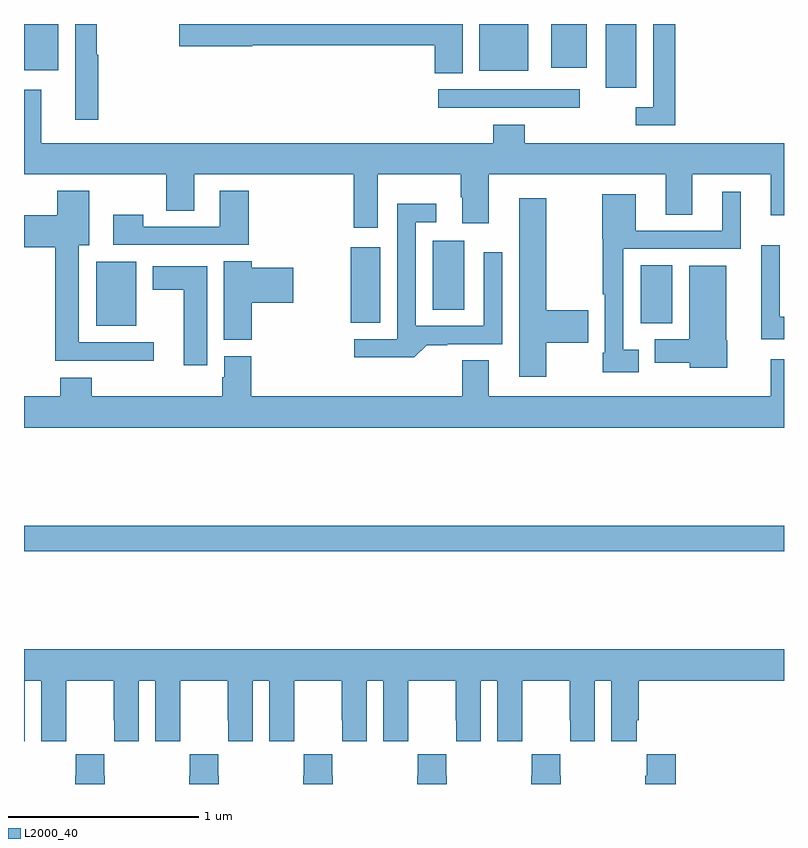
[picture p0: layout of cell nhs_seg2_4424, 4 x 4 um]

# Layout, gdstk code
import gdstk
lib = gdstk.Library(unit=1e-6, precision=1e-09)
def R(c, l, rs):  # rectangles x0, y0, x1, y1
    for r in rs: c.add(gdstk.rectangle(r[:2], r[2:], *l))
def P(c, l, *ps):  # polygons
    for p in ps: c.add(gdstk.Polygon(p, *l))
L2000_40 = (2000, 40)

nhs_seg2_4424 = lib.new_cell('nhs_seg2_4424')
R(nhs_seg2_4424, L2000_40, [(351,607.024,355,607.16), (351.38,608.213,351.592,608.548), (354.245,608.225,354.412,608.531), (352.72,608.227,352.876,608.626), (353.15,608.296,353.317,608.659), (353.181,609.36,353.926,609.456), (354.062,609.465,354.223,609.8), (353.396,609.554,353.653,609.8), (351,609.557,351.181,609.8), (353.774,609.569,353.962,609.8)])
P(nhs_seg2_4424, L2000_40, [(353.308,609.8),(351.816,609.8),(351.816,609.683),(352.2,609.683),(352.2,609.688),(353.162,609.688),(353.162,609.541),(353.308,609.541)],
  [(354.428,609.8),(354.312,609.8),(354.312,609.363),(354.219,609.363),(354.219,609.267),(354.428,609.267)],
  [(351.391,609.638),(351.383,609.638),(351.383,609.8),(351.269,609.8),(351.269,609.297),(351.391,609.297)],
  [(352.861,609.008),(353.299,609.008),(353.299,608.888),(353.306,608.888),(353.306,608.751),(353.446,608.751),(353.446,609.008),(354.377,609.008),(354.377,608.797),(354.517,608.797),(354.517,609.008),(354.929,609.008),(354.929,608.793),(355,608.793),(355,609.172),(353.636,609.172),(353.636,609.271),(353.471,609.271),(353.471,609.172),(351.091,609.172),(351.091,609.454),(351,609.454),(351,609.008),(351.748,609.008),(351.748,608.818),(351.895,608.818),(351.895,609.008),(352.736,609.008),(352.736,608.727),(352.861,608.727)],
  [(351.682,608.124),(351.289,608.124),(351.289,608.636),(351.343,608.636),(351.343,608.923),(351.176,608.923),(351.176,608.794),(351,608.794),(351,608.624),(351.164,608.624),(351.164,608.027),(351.682,608.027)],
  [(352.184,608.923),(352.031,608.923),(352.031,608.733),(351.627,608.733),(351.627,608.797),(351.471,608.797),(351.471,608.637),(352.184,608.637)],
  [(354.236,608.086),(354.153,608.086),(354.153,608.616),(354.772,608.616),(354.772,608.917),(354.674,608.917),(354.674,608.712),(354.22,608.712),(354.22,608.905),(354.044,608.905),(354.044,608.669),(354.045,608.669),(354.045,608.377),(354.057,608.377),(354.057,608.071),(354.045,608.071),(354.045,607.967),(354.236,607.967)],
  [(353.748,608.123),(353.971,608.123),(353.971,608.294),(353.748,608.294),(353.748,608.884),(353.606,608.884),(353.606,607.944),(353.748,607.944)],
  [(353.119,608.11),(353.227,608.11),(353.227,608.115),(353.517,608.115),(353.517,608.599),(353.421,608.599),(353.421,608.211),(353.061,608.211),(353.061,608.757),(353.17,608.757),(353.17,608.854),(352.965,608.854),(352.965,608.142),(352.737,608.142),(352.737,608.045),(353.054,608.045)],
  [(355,608.258),(354.978,608.258),(354.978,608.635),(354.881,608.635),(354.881,608.142),(355,608.142)],
  [(352.199,608.333),(352.417,608.333),(352.417,608.516),(352.199,608.516),(352.199,608.552),(352.052,608.552),(352.052,608.137),(352.199,608.137)],
  [(354.7,608.136),(354.697,608.136),(354.697,608.527),(354.5,608.527),(354.5,608.14),(354.321,608.14),(354.321,608.018),(354.504,608.018),(354.504,607.991),(354.7,607.991)],
  [(351.964,608.524),(351.677,608.524),(351.677,608.402),(351.842,608.402),(351.842,608.004),(351.964,608.004)],
  [(355,608.035),(354.929,608.035),(354.929,607.84),(353.446,607.84),(353.446,608.03),(353.306,608.03),(353.306,607.84),(352.196,607.84),(352.196,608.052),(352.055,608.052),(352.055,607.941),(352.043,607.941),(352.043,607.84),(351.356,607.84),(351.356,607.939),(351.191,607.939),(351.191,607.84),(351,607.84),(351,607.676),(355,607.676)],
  [(351.004,606.344),(351.092,606.344),(351.092,606.024),(351.222,606.024),(351.222,606.136),(351.223,606.136),(351.223,606.344),(351.473,606.344),(351.473,606.136),(351.474,606.136),(351.474,606.024),(351.604,606.024),(351.604,606.344),(351.692,606.344),(351.692,606.024),(351.822,606.024),(351.822,606.136),(351.823,606.136),(351.823,606.344),(352.073,606.344),(352.073,606.136),(352.074,606.136),(352.074,606.024),(352.204,606.024),(352.204,606.344),(352.292,606.344),(352.292,606.024),(352.422,606.024),(352.422,606.136),(352.423,606.136),(352.423,606.344),(352.673,606.344),(352.673,606.136),(352.674,606.136),(352.674,606.024),(352.804,606.024),(352.804,606.344),(352.892,606.344),(352.892,606.024),(353.022,606.024),(353.022,606.136),(353.023,606.136),(353.023,606.344),(353.273,606.344),(353.273,606.136),(353.274,606.136),(353.274,606.024),(353.404,606.024),(353.404,606.344),(353.492,606.344),(353.492,606.024),(353.622,606.024),(353.622,606.136),(353.623,606.136),(353.623,606.344),(353.873,606.344),(353.873,606.136),(353.874,606.136),(353.874,606.024),(354.004,606.024),(354.004,606.344),(354.092,606.344),(354.092,606.024),(354.226,606.024),(354.226,606.136),(354.236,606.136),(354.236,606.344),(355,606.344),(355,606.508),(351,606.508),(351,606.024),(351.004,606.024)],
  [(354.431,605.956),(354.277,605.956),(354.277,605.843),(354.271,605.843),(354.271,605.8),(354.431,605.8)],
  [(353.826,605.843),(353.823,605.843),(353.823,605.956),(353.673,605.956),(353.673,605.843),(353.671,605.843),(353.671,605.8),(353.826,605.8)],
  [(353.226,605.843),(353.223,605.843),(353.223,605.956),(353.073,605.956),(353.073,605.843),(353.071,605.843),(353.071,605.8),(353.226,605.8)],
  [(352.626,605.843),(352.623,605.843),(352.623,605.956),(352.473,605.956),(352.473,605.843),(352.471,605.843),(352.471,605.8),(352.626,605.8)],
  [(352.026,605.843),(352.023,605.843),(352.023,605.956),(351.873,605.956),(351.873,605.843),(351.871,605.843),(351.871,605.8),(352.026,605.8)],
  [(351.426,605.843),(351.423,605.843),(351.423,605.956),(351.273,605.956),(351.273,605.843),(351.271,605.843),(351.271,605.8),(351.426,605.8)])

lib.write_gds('nhs_seg2_4424.gds')
